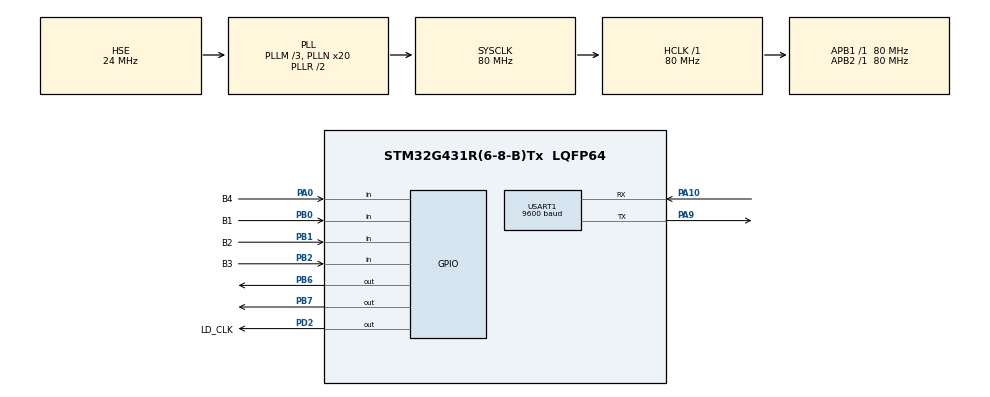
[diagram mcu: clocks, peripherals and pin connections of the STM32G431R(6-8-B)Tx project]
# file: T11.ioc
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Mcu.Family=STM32G4
Mcu.Name=STM32G431R(6-8-B)Tx
Mcu.Package=LQFP64
NVIC.PriorityGroup=NVIC_PRIORITYGROUP_4
NVIC.TIM4_IRQn=true\:0\:0\:false\:false\:true\:true\:true
NVIC.USART1_IRQn=true\:0\:0\:false\:false\:true\:true\:true
PA0.GPIO_Label=B4
PA0.Signal=GPIO_Input
PA10.Mode=Asynchronous
PA10.Signal=USART1_RX
PA9.Mode=Asynchronous
PA9.Signal=USART1_TX
PB0.GPIO_Label=B1
PB0.Signal=GPIO_Input
PB1.GPIO_Label=B2
PB1.Signal=GPIO_Input
PB2.GPIO_Label=B3
PB2.Signal=GPIO_Input
PB6.Signal=GPIO_Output
PB7.Signal=GPIO_Output
PC14-OSC32_IN.Mode=LSE-External-Oscillator
PC14-OSC32_IN.Signal=RCC_OSC32_IN
PC15-OSC32_OUT.Mode=LSE-External-Oscillator
PC15-OSC32_OUT.Signal=RCC_OSC32_OUT
PD2.GPIO_Label=LD_CLK
PD2.Signal=GPIO_Output
PF0-OSC_IN.Mode=HSE-External-Oscillator
PF0-OSC_IN.Signal=RCC_OSC_IN
PF1-OSC_OUT.Mode=HSE-External-Oscillator
PF1-OSC_OUT.Signal=RCC_OSC_OUT
ProjectManager.HeapSize=0x200
ProjectManager.StackSize=0x400
ProjectManager.TargetToolchain=MDK-ARM V5.27
RCC.ADC12Freq_Value=80000000
RCC.AHBFreq_Value=80000000
RCC.APB1Freq_Value=80000000
RCC.APB1TimFreq_Value=80000000
RCC.APB2Freq_Value=80000000
RCC.APB2TimFreq_Value=80000000
RCC.CortexFreq_Value=80000000
RCC.EXTERNAL_CLOCK_VALUE=12288000
RCC.HCLKFreq_Value=80000000
RCC.HSE_VALUE=24000000
RCC.HSI48_VALUE=48000000
RCC.HSI_VALUE=16000000
RCC.PLLM=RCC_PLLM_DIV3
RCC.PLLN=20
RCC.PLLSourceVirtual=RCC_PLLSOURCE_HSE
RCC.SYSCLKFreq_VALUE=80000000
RCC.SYSCLKSource=RCC_SYSCLKSOURCE_PLLCLK
RCC.USBFreq_Value=80000000
RCC.VCOOutputFreq_Value=160000000
RTC.Alarm-Alarm\ A=RTC_ALARM_A
RTC.Hours=11
RTC.Hours_A-Alarm\ A=12
RTC.Minutes=59
RTC.Seconds=50
TIM4.PeriodNoDither=1000-1
TIM4.Prescaler=80-1
USART1.BaudRate=9600
USART1.VirtualMode-Asynchronous=VM_ASYNC
VP_RTC_VS_RTC_Activate.Mode=RTC_Enabled
VP_RTC_VS_RTC_Alarm_A_Intern.Mode=Alarm A
VP_RTC_VS_RTC_Calendar.Mode=RTC_Calendar
VP_SYS_VS_DBSignals.Mode=DisableDeadBatterySignals
VP_TIM4_VS_ClockSourceINT.Mode=Internal
board=custom

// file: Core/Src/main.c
/* USER CODE BEGIN Header */
/**
  ******************************************************************************
  * @file           : main.c
  * @brief          : Main program body
  ******************************************************************************
  * @attention
  *
  * <h2><center>&copy; Copyright (c) 2021 STMicroelectronics.
  * All rights reserved.</center></h2>
  *
  * This software component is licensed by ST under BSD 3-Clause license,
  * the "License"; You may not use this file except in compliance with the
  * License. You may obtain a copy of the License at:
  *                        opensource.org/licenses/BSD-3-Clause
  *
  ******************************************************************************
  */
/* USER CODE END Header */
#include "main.h"
#include "rtc.h"
#include "tim.h"
#include "usart.h"
#include "gpio.h"

/* USER CODE BEGIN Includes */
#include "stdio.h"
#include "lcd.h"
#include "i2c.h"
/* USER CODE END Includes */

/* USER CODE BEGIN PD */
#define MAIN_VIEW 0
#define SETTING_VIEW 1
#define ALARM_SETTING_VIEW 2//用于选择界面
#define HOUR_SELECT 1
#define MIN_SELECT 2
#define SEC_SELECT 3//用于选择时间的设置
/* USER CODE END PD */

/* USER CODE BEGIN PM */
#define KB1 HAL_GPIO_ReadPin(B1_GPIO_Port, B1_Pin)
#define KB2 HAL_GPIO_ReadPin(B2_GPIO_Port, B2_Pin)
#define KB3 HAL_GPIO_ReadPin(B3_GPIO_Port, B3_Pin)
#define KB4 HAL_GPIO_ReadPin(B4_GPIO_Port, B4_Pin)
/* USER CODE END PM */

/* USER CODE BEGIN PV */
RTC_TimeTypeDef sTime;
RTC_DateTypeDef sDate;
RTC_AlarmTypeDef sAlarm;
uint8_t ViewModel = 0;
uint8_t SettingModel = 1;
char lcd_buf[20];
uint16_t Led_Val;
_Bool Key_Flag = 1;
//储存时间
uint8_t hour, min, sec;
uint8_t ahour, amin, asec;
uint8_t setting_count, alarm_setting_count;
/* USER CODE END PV */

void SystemClock_Config(void);

/* USER CODE BEGIN 0 */
uint8_t ee_read(uint8_t address)
{
 uint8_t val;
 I2CStart();
 I2CSendByte(0xa0);
 I2CWaitAck();

 I2CSendByte(address);
 I2CWaitAck();

 I2CStart();
 I2CSendByte(0xa1);
 I2CWaitAck();
 val = I2CReceiveByte();
 I2CWaitAck();
 I2CStop();
 return val;
}

//
void ee_write(uint8_t address, uint8_t val)
{
 I2CStart();
 I2CSendByte(0xa0);
 I2CWaitAck();

 I2CSendByte(address);
 I2CWaitAck();

 I2CSendByte(val);
 I2CWaitAck();
 I2CStop();
}

int fputc(int ch, FILE* f)
{
	HAL_UART_Transmit(&huart1, (uint8_t *)&ch, 1, HAL_MAX_DELAY);
	return ch;
}
//对LED灯的操作
void TurnOff_LEDS()
{
	Led_Val |= 0xFF00;
	HAL_GPIO_WritePin(LD_CLK_GPIO_Port, LD_CLK_Pin, GPIO_PIN_SET);
	GPIOC->ODR = (uint32_t)Led_Val;
	HAL_GPIO_WritePin(LD_CLK_GPIO_Port, LD_CLK_Pin, GPIO_PIN_RESET);
}
void TurnOn_LED(uint8_t i)
{
	Led_Val &= ~(0x01<<(7+i));
	HAL_GPIO_WritePin(LD_CLK_GPIO_Port, LD_CLK_Pin, GPIO_PIN_SET);
	GPIOC->ODR = (uint32_t)Led_Val;
	HAL_GPIO_WritePin(LD_CLK_GPIO_Port, LD_CLK_Pin, GPIO_PIN_RESET);
}
void TurnOff_LED(uint8_t i)
{
	Led_Val |= (0x01<<(7+i));
	HAL_GPIO_WritePin(LD_CLK_GPIO_Port, LD_CLK_Pin, GPIO_PIN_SET);
	GPIOC->ODR = (uint32_t)Led_Val;
	HAL_GPIO_WritePin(LD_CLK_GPIO_Port, LD_CLK_Pin, GPIO_PIN_RESET);
}

_Bool ledflag = 1;
void LD_State1()
{
	if(ledflag)
	{
		TurnOn_LED(1);
	}else{
		TurnOff_LED(1);
	}
	ledflag = !ledflag;
}

void LD_State2()
{
	TurnOff_LEDS();
	TurnOn_LED(2);
}
void LD_State3()
{
	TurnOff_LEDS();
	TurnOn_LED(3);
}

void Display_Time()
{
	HAL_RTC_GetTime(&hrtc, &sTime, RTC_FORMAT_BIN);
	HAL_RTC_GetDate(&hrtc, &sDate, RTC_FORMAT_BIN);
	LCD_DisplayStringLine(Line1, (uint8_t *)"        MAIN           ");
	hour = sTime.Hours;
	min = sTime.Minutes;
	sec = sTime.Seconds;
	sprintf(lcd_buf, "   RTC: %02d:%02d:%02d   ", hour, min, sec);
	LCD_DisplayStringLine(Line3, (uint8_t *)lcd_buf);
}

void Setting_Time()
{
	LCD_DisplayStringLine(Line1, (uint8_t *)"    RTC-SETTING        ");
	switch(SettingModel)
	{
		case HOUR_SELECT:
			LCD_SetTextColor(Red);
			LCD_DisplayChar(Line3, 319-16*8, hour/10+48);
			LCD_DisplayChar(Line3, 319-16*9, hour%10+48);
			LCD_SetTextColor(Black);
			LCD_DisplayChar(Line3, 319-16*11, min/10+48);
			LCD_DisplayChar(Line3, 319-16*12, min%10+48);
			LCD_DisplayChar(Line3, 319-16*14, sec/10+48);
			LCD_DisplayChar(Line3, 319-16*15, sec%10+48);
			break;
		case MIN_SELECT:
			LCD_SetTextColor(Black);
			LCD_DisplayChar(Line3, 319-16*8, hour/10+48);
			LCD_DisplayChar(Line3, 319-16*9, hour%10+48);
			LCD_SetTextColor(Red);
			LCD_DisplayChar(Line3, 319-16*11, min/10+48);
			LCD_DisplayChar(Line3, 319-16*12, min%10+48);
			LCD_SetTextColor(Black);
			LCD_DisplayChar(Line3, 319-16*14, sec/10+48);
			LCD_DisplayChar(Line3, 319-16*15, sec%10+48);
			break;
		case SEC_SELECT:
			LCD_SetTextColor(Black);
			LCD_DisplayChar(Line3, 319-16*8, hour/10+48);
			LCD_DisplayChar(Line3, 319-16*9, hour%10+48);
			LCD_DisplayChar(Line3, 319-16*11, min/10+48);
			LCD_DisplayChar(Line3, 319-16*12, min%10+48);
			LCD_SetTextColor(Red);
			LCD_DisplayChar(Line3, 319-16*14, sec/10+48);
			LCD_DisplayChar(Line3, 319-16*15, sec%10+48);
			LCD_SetTextColor(Black);
			break;
	}
}

void Alarm_Time()
{
	LCD_DisplayStringLine(Line1, (uint8_t *)"    ALARM-SETTING        ");
	sprintf(lcd_buf, " Alarm");
	LCD_DisplayStringLine(Line3, (uint8_t *)lcd_buf);
	if(SettingModel == HOUR_SELECT)
	{
		LCD_SetTextColor(Red);
		LCD_DisplayChar(Line3, 319-16*8, ahour/10+48);
		LCD_DisplayChar(Line3, 319-16*9, ahour%10+48);
		LCD_SetTextColor(Black);
	}else{
		LCD_DisplayChar(Line3, 319-16*8, ahour/10+48);
		LCD_DisplayChar(Line3, 319-16*9, ahour%10+48);
	}
	if(SettingModel == MIN_SELECT)
	{
		LCD_SetTextColor(Red);
		LCD_DisplayChar(Line3, 319-16*11, amin/10+48);
		LCD_DisplayChar(Line3, 319-16*12, amin%10+48);
		LCD_SetTextColor(Black);
	}else{
		LCD_DisplayChar(Line3, 319-16*11, amin/10+48);
		LCD_DisplayChar(Line3, 319-16*12, amin%10+48);
	}
	if(SettingModel == SEC_SELECT)
	{
		LCD_SetTextColor(Red);
		LCD_DisplayChar(Line3, 319-16*14, asec/10+48);
		LCD_DisplayChar(Line3, 319-16*15, asec%10+48);
		LCD_SetTextColor(Black);
	}else{
		LCD_DisplayChar(Line3, 319-16*14, asec/10+48);
		LCD_DisplayChar(Line3, 319-16*15, asec%10+48);
	}
}
void Display_Proc()
{
	switch(ViewModel)
	{
		case MAIN_VIEW:
			Display_Time();
			break;
		case SETTING_VIEW:
			Setting_Time();
			break;
		case ALARM_SETTING_VIEW:
			Alarm_Time();
			break;
	}
}

//按键的操作
void Key_Proc()
{
	//按键1
	static uint16_t b1_sum = 0;
	if(KB1 == 0)
	{
		b1_sum++;
		if(b1_sum == 1)
		{
			if(ViewModel == ALARM_SETTING_VIEW)
			{
				SettingModel = SettingModel % 3 + 1;
			}
			switch(ViewModel)
			{
				case MAIN_VIEW:
					__HAL_RCC_RTC_DISABLE();
					LD_State2();
				  ViewModel = SETTING_VIEW;

					break;
				case SETTING_VIEW:
					__HAL_RCC_RTC_ENABLE();
					TurnOff_LED(2);
					sTime.Hours = hour;
					sTime.Minutes = min;
					sTime.Seconds = sec;
					HAL_RTC_SetTime(&hrtc, &sTime, RTC_FORMAT_BIN);
					printf("New RTC:%02d:%02d:%02d\r\n", hour, min, sec);
					ViewModel = MAIN_VIEW;
					ee_write(0x02, ++setting_count);
					HAL_Delay(5);
					break;
			}

		}
	}
	if(KB1 == 1){
		b1_sum = 0;
	}

	//按键2
	static uint16_t b2_sum = 0;
	if(KB2 == 0)
	{
		b2_sum++;
		if(b2_sum == 1)
		{
			if(ViewModel == SETTING_VIEW)
			{
				SettingModel = SettingModel % 3 + 1;
			}
			switch(ViewModel)
			{
				case MAIN_VIEW:
					__HAL_RCC_RTC_DISABLE();
					LD_State3();
					HAL_RTC_GetAlarm(&hrtc, &sAlarm, RTC_ALARM_A, RTC_FORMAT_BIN);
					ahour = sAlarm.AlarmTime.Hours;
					amin = sAlarm.AlarmTime.Minutes;
					asec = sAlarm.AlarmTime.Seconds;
				  ViewModel = ALARM_SETTING_VIEW;
					break;
				case ALARM_SETTING_VIEW:
					alarm_setting_count++;

					__HAL_RCC_RTC_ENABLE();
					TurnOff_LED(3);
					sAlarm.AlarmTime.Hours = ahour;
					sAlarm.AlarmTime.Minutes = amin;
					sAlarm.AlarmTime.Seconds = asec;
					HAL_RTC_SetAlarm(&hrtc, &sAlarm, RTC_FORMAT_BIN);

					printf("New Alarm:%02d:%02d:%02d\r\n", ahour, amin, asec);
					ViewModel = MAIN_VIEW;
					ee_write(0x02, ++alarm_setting_count);
					HAL_Delay(5);
					break;
			}
		}
	}
	if(KB2 == 1){
		b2_sum = 0;
	}

	//按键3 用于时间加
	static uint16_t b3_sum = 0;
	if(KB3 == 0)
	{
		b3_sum++;
		if(b3_sum == 1)
		{
			if(ViewModel == SETTING_VIEW)
			{
				switch(SettingModel)
				{
					case HOUR_SELECT:
						if(++hour == 24)
						{
							hour = 0;
						}
					break;
					case MIN_SELECT:
						if(++min == 60)
						{
							min = 0;
						}
					break;
					case SEC_SELECT:
						if(++sec == 60)
						{
							sec = 0;
						}
					break;
				}
				Setting_Time();
			}
			if(ViewModel == ALARM_SETTING_VIEW)
			{
				switch(SettingModel)
				{
					case HOUR_SELECT:
						if(++ahour == 24)
						{
							ahour = 0;
						}
					break;
					case MIN_SELECT:
						if(++amin == 60)
						{
							amin = 0;
						}
					break;
					case SEC_SELECT:
						if(++asec == 60)
						{
							asec = 0;
						}
					break;
				}
				Alarm_Time();
			}
		}
		if(b3_sum == 100)
		{
			if(ViewModel == SETTING_VIEW)
			{
				switch(SettingModel)
				{
					case HOUR_SELECT:
						if(++hour >= 24)
						{
							hour = 0;
						}
					break;
					case MIN_SELECT:
						if(++min >= 60)
						{
							min = 0;
						}
					break;
					case SEC_SELECT:
						if(++sec >= 60)
						{
							sec = 0;
						}
					break;
				}
				Setting_Time();
				b3_sum = 95;
			}
			if(ViewModel == ALARM_SETTING_VIEW)
			{
				switch(SettingModel)
				{
					case HOUR_SELECT:
						if(++ahour == 24)
						{
							ahour = 0;
						}
					break;
					case MIN_SELECT:
						if(++amin == 60)
						{
							amin = 0;
						}
					break;
					case SEC_SELECT:
						if(++asec == 60)
						{
							asec = 0;
						}
					break;
				}
				Alarm_Time();
				b3_sum = 95;
			}
		}
	}
	if(KB3 == 1){
		b3_sum = 0;
	}

	//按键4 用于时间减
	static uint16_t b4_sum = 0;
	if(KB4 == 0)
	{
		b4_sum++;
		if(b4_sum == 1)
		{
			if(ViewModel == SETTING_VIEW)
			{
				switch(SettingModel)
				{
					case HOUR_SELECT:
						if(hour != 0)
						{
							hour--;
						}
					break;
					case MIN_SELECT:
						if(min != 0)
						{
							min--;
						}
					break;
					case SEC_SELECT:
						if(sec != 0)
						{
							sec--;
						}
					break;
				}
				Setting_Time();
			}
			if(ViewModel == ALARM_SETTING_VIEW)
			{
				switch(SettingModel)
				{
					case HOUR_SELECT:
						if(ahour != 0)
						{
							ahour--;
						}
					break;
					case MIN_SELECT:
						if(amin != 0)
						{
							amin--;
						}
					break;
					case SEC_SELECT:
						if(asec != 0)
						{
							asec--;
						}
					break;
				}
				Alarm_Time();
			}
		}
		if(b4_sum == 100)
		{
			if(ViewModel == SETTING_VIEW)
			{
				switch(SettingModel)
				{
					case HOUR_SELECT:
						if(hour != 0)
						{
							hour--;
						}
					break;
					case MIN_SELECT:
						if(min != 0)
						{
							min--;
						}
					break;
					case SEC_SELECT:
						if(sec != 0)
						{
							sec--;
						}
					break;
				}
				Setting_Time();
				b4_sum = 95;
			}
			if(ViewModel == ALARM_SETTING_VIEW)
			{
				switch(SettingModel)
				{
					case HOUR_SELECT:
						if(ahour != 0)
						{
							ahour--;
						}
					break;
					case MIN_SELECT:
						if(amin != 0)
						{
							amin--;
						}
					break;
					case SEC_SELECT:
						if(asec != 0)
						{
							asec--;
						}
					break;
				}
				Alarm_Time();
				b4_sum = 95;
			}
		}
	}
	if(KB4 == 1){
		b4_sum = 0;
	}
}
/* USER CODE END 0 */

int main(void)
{

  /* MCU Configuration--------------------------------------------------------*/

  /* Reset of all peripherals, Initializes the Flash interface and the Systick. */
  HAL_Init();

  /* Configure the system clock */
  SystemClock_Config();

  /* Initialize all configured peripherals */
  MX_GPIO_Init();
  MX_RTC_Init();
  MX_TIM4_Init();
  MX_USART1_UART_Init();
  /* USER CODE BEGIN 2 */
	I2CInit();
	//初始化LCD
	LCD_Init();
	LCD_Clear(White);
	LCD_SetBackColor(White);
	LCD_SetTextColor(Black);
	alarm_setting_count = ee_read(0x01);
	setting_count = ee_read(0x02);

	//关闭全部LED
	TurnOff_LEDS();
	HAL_TIM_Base_Start_IT(&htim4);
  /* USER CODE END 2 */

  /* Infinite loop */
  /* USER CODE BEGIN WHILE */
  while (1)
  {
		Display_Proc();
    /* USER CODE END WHILE */

    /* USER CODE BEGIN 3 */
		if(Key_Flag)
		{
			Key_Flag = 0;
			Key_Proc();
		}
  }
  /* USER CODE END 3 */
}

void SystemClock_Config(void)
{
  RCC_OscInitTypeDef RCC_OscInitStruct = {0};
  RCC_ClkInitTypeDef RCC_ClkInitStruct = {0};
  RCC_PeriphCLKInitTypeDef PeriphClkInit = {0};

  /** Configure the main internal regulator output voltage
  */
  HAL_PWREx_ControlVoltageScaling(PWR_REGULATOR_VOLTAGE_SCALE1);
  /** Initializes the RCC Oscillators according to the specified parameters
  * in the RCC_OscInitTypeDef structure.
  */
  RCC_OscInitStruct.OscillatorType = RCC_OSCILLATORTYPE_LSI|RCC_OSCILLATORTYPE_HSE;
  RCC_OscInitStruct.HSEState = RCC_HSE_ON;
  RCC_OscInitStruct.LSIState = RCC_LSI_ON;
  RCC_OscInitStruct.PLL.PLLState = RCC_PLL_ON;
  RCC_OscInitStruct.PLL.PLLSource = RCC_PLLSOURCE_HSE;
  RCC_OscInitStruct.PLL.PLLM = RCC_PLLM_DIV3;
  RCC_OscInitStruct.PLL.PLLN = 20;
  RCC_OscInitStruct.PLL.PLLP = RCC_PLLP_DIV2;
  RCC_OscInitStruct.PLL.PLLQ = RCC_PLLQ_DIV2;
  RCC_OscInitStruct.PLL.PLLR = RCC_PLLR_DIV2;
  if (HAL_RCC_OscConfig(&RCC_OscInitStruct) != HAL_OK)
  {
    Error_Handler();
  }
  /** Initializes the CPU, AHB and APB buses clocks
  */
  RCC_ClkInitStruct.ClockType = RCC_CLOCKTYPE_HCLK|RCC_CLOCKTYPE_SYSCLK
                              |RCC_CLOCKTYPE_PCLK1|RCC_CLOCKTYPE_PCLK2;
  RCC_ClkInitStruct.SYSCLKSource = RCC_SYSCLKSOURCE_PLLCLK;
  RCC_ClkInitStruct.AHBCLKDivider = RCC_SYSCLK_DIV1;
  RCC_ClkInitStruct.APB1CLKDivider = RCC_HCLK_DIV1;
  RCC_ClkInitStruct.APB2CLKDivider = RCC_HCLK_DIV1;

  if (HAL_RCC_ClockConfig(&RCC_ClkInitStruct, FLASH_LATENCY_2) != HAL_OK)
  {
    Error_Handler();
  }
  /** Initializes the peripherals clocks
  */
  PeriphClkInit.PeriphClockSelection = RCC_PERIPHCLK_RTC|RCC_PERIPHCLK_USART1;
  PeriphClkInit.Usart1ClockSelection = RCC_USART1CLKSOURCE_PCLK2;
  PeriphClkInit.RTCClockSelection = RCC_RTCCLKSOURCE_LSI;

  if (HAL_RCCEx_PeriphCLKConfig(&PeriphClkInit) != HAL_OK)
  {
    Error_Handler();
  }
}

/* USER CODE BEGIN 4 */
void HAL_TIM_PeriodElapsedCallback(TIM_HandleTypeDef *htim)
{
	static uint16_t key_count = 0;
	static uint16_t led_count = 0;
	HAL_TIM_Base_Start_IT(&htim4);
	if(htim->Instance == TIM4)
	{
		if(++key_count == 10)
		{
			Key_Flag = 1;
			key_count = 0;
		}
		if(ViewModel == MAIN_VIEW && (++led_count) == 1000)
		{
			led_count = 0;
			LD_State1();
		}
	}
}
/* USER CODE END 4 */

void Error_Handler(void)
{
  __disable_irq();
  while (1)
  {
  }
}

/************************ (C) COPYRIGHT STMicroelectronics *****END OF FILE****/
